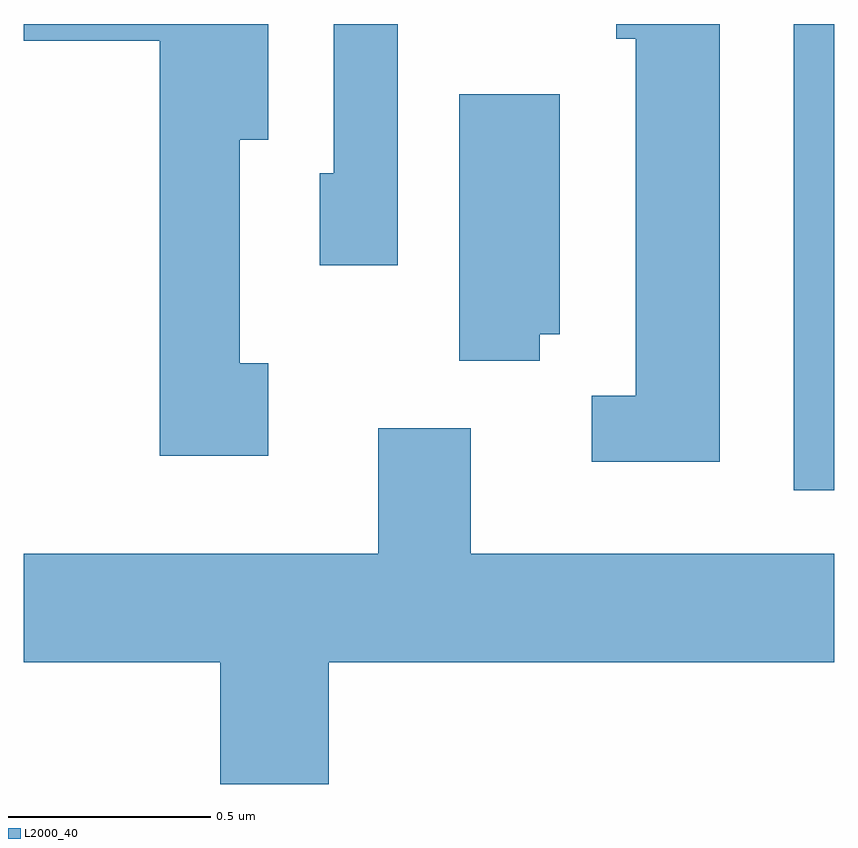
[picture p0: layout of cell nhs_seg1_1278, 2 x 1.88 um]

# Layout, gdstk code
import gdstk
lib = gdstk.Library(unit=1e-6, precision=1e-09)
def R(c, l, rs):  # rectangles x0, y0, x1, y1
    for r in rs: c.add(gdstk.rectangle(r[:2], r[2:], *l))
def P(c, l, *ps):  # polygons
    for p in ps: c.add(gdstk.Polygon(p, *l))
L2000_40 = (2000, 40)

nhs_seg1_1278 = lib.new_cell('nhs_seg1_1278')
R(nhs_seg1_1278, L2000_40, [(196.511,895.561,196.611,896.712)])
P(nhs_seg1_1278, L2000_40, [(195.534,896.712),(195.376,896.712),(195.376,896.344),(195.341,896.344),(195.341,896.116),(195.534,896.116)],
  [(196.329,896.712),(196.073,896.712),(196.073,896.676),(196.121,896.676),(196.121,895.794),(196.013,895.794),(196.013,895.631),(196.329,895.631)],
  [(195.214,895.874),(195.144,895.874),(195.144,896.426),(195.214,896.426),(195.214,896.712),(194.611,896.712),(194.611,896.671),(194.946,896.671),(194.946,895.646),(195.214,895.646)],
  [(195.884,895.946),(195.934,895.946),(195.934,896.539),(195.686,896.539),(195.686,895.881),(195.884,895.881)],
  [(195.364,895.136),(196.611,895.136),(196.611,895.404),(195.714,895.404),(195.714,895.714),(195.486,895.714),(195.486,895.404),(194.611,895.404),(194.611,895.136),(195.096,895.136),(195.096,894.836),(195.364,894.836)])

lib.write_gds('nhs_seg1_1278.gds')
